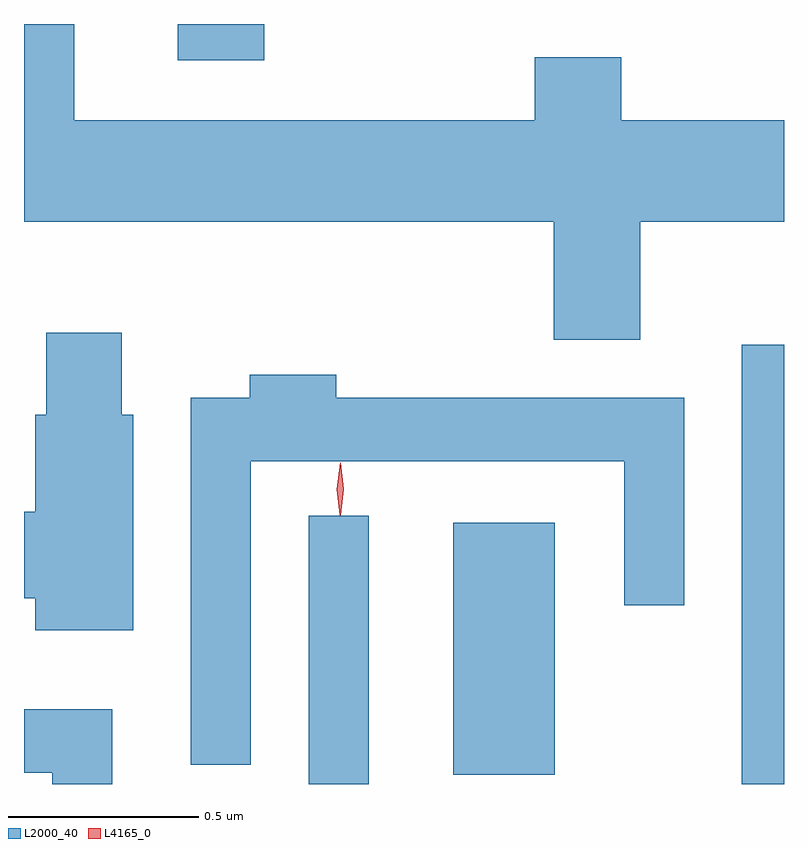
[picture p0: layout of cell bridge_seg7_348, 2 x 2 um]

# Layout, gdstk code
import gdstk
lib = gdstk.Library(unit=1e-6, precision=1e-09)
def R(c, l, rs):  # rectangles x0, y0, x1, y1
    for r in rs: c.add(gdstk.rectangle(r[:2], r[2:], *l))
def P(c, l, *ps):  # polygons
    for p in ps: c.add(gdstk.Polygon(p, *l))
L2000_40 = (2000, 40)
L4165_0 = (4165, 0)

bridge_seg7_348 = lib.new_cell('bridge_seg7_348')
R(bridge_seg7_348, L2000_40, [(1196.486,1777.217,1196.644,1777.923), (1197.626,1777.217,1197.737,1778.373), (1196.866,1777.241,1197.134,1777.904), (1196.141,1779.121,1196.369,1779.217)])
P(bridge_seg7_348, L2000_40, [(1197.359,1778.696),(1197.737,1778.696),(1197.737,1778.964),(1197.309,1778.964),(1197.309,1779.129),(1197.081,1779.129),(1197.081,1778.964),(1195.869,1778.964),(1195.869,1779.217),(1195.737,1779.217),(1195.737,1778.696),(1197.131,1778.696),(1197.131,1778.386),(1197.359,1778.386)],
  [(1196.024,1778.189),(1195.994,1778.189),(1195.994,1778.404),(1195.796,1778.404),(1195.796,1778.189),(1195.766,1778.189),(1195.766,1777.934),(1195.737,1777.934),(1195.737,1777.706),(1195.766,1777.706),(1195.766,1777.621),(1196.024,1777.621)],
  [(1196.334,1778.066),(1197.316,1778.066),(1197.316,1777.688),(1197.474,1777.688),(1197.474,1778.234),(1196.559,1778.234),(1196.559,1778.294),(1196.331,1778.294),(1196.331,1778.234),(1196.176,1778.234),(1196.176,1777.268),(1196.334,1777.268)],
  [(1195.969,1777.414),(1195.737,1777.414),(1195.737,1777.246),(1195.811,1777.246),(1195.811,1777.217),(1195.969,1777.217)])
P(bridge_seg7_348, L4165_0, [(1196.568,1777.924),(1196.56,1777.993),(1196.569,1778.062),(1196.57,1778.063),(1196.57,1778.062),(1196.579,1777.993),(1196.57,1777.924),(1196.569,1777.924)])

lib.write_gds('bridge_seg7_348.gds')
